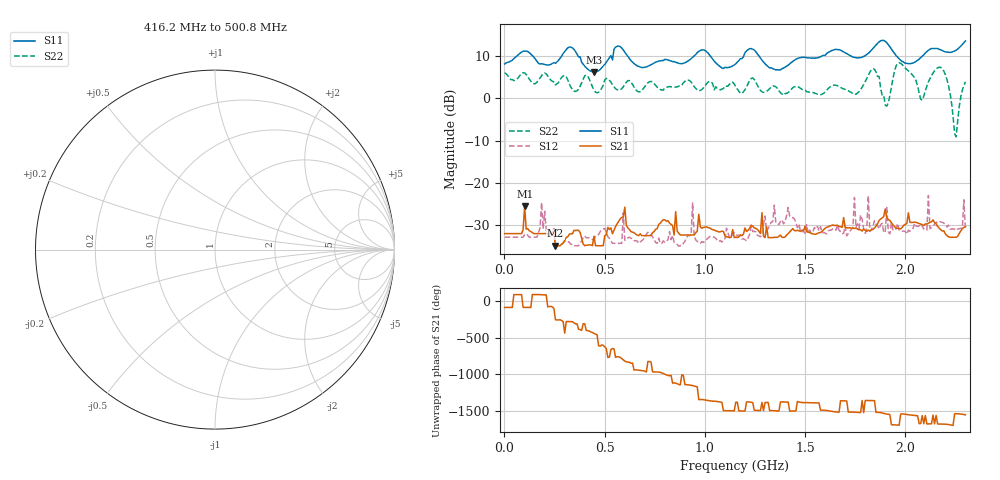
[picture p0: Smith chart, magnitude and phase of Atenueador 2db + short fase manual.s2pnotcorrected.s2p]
# Hz S DB R 50.000000
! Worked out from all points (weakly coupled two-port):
!   300 points, 1 MHz to 2.3 GHz, reference 50 ohm
!   highest |S21| = -25.50 dB at 101 MHz (marker M1); lowest = -34.9 dB at 254.7 MHz (marker M2)
!   lowest |S11| = 6.2 dB at 447 MHz (marker M3)
!   |S11| at or under -10 dB: nowhere
!   |S22| runs from -9.1 to 8.4 dB; largest |S21 - S12| = 0.093
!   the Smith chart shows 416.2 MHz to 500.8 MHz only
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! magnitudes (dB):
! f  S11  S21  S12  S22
! 1 MHz  8.1  -32.0  -32.8  6.0
! 101 MHz  11.2  -25.5  -32.2  6.0
! 185.5 MHz  8.2  -32.0  -24.7  5.4
! 254.7 MHz  8.3  -34.9  -34.9  3.1
! 385.4 MHz  8.5  -33.1  -33.7  3.7
! 447 MHz  6.2  -32.6  -33.3  2.0
! 769.9 MHz  8.8  -29.8  -33.0  2.3
! 885.2 MHz  8.2  -32.3  -34.9  3.1
! 939.1 MHz  9.7  -32.3  -24.7  3.4
! 969.8 MHz  11.1  -27.5  -34.2  1.8
! 1.154 GHz  8.1  -32.8  -32.0  2.8
! 1.539 GHz  9.5  -32.1  -31.7  1.4
! 1.708 GHz  10.6  -30.6  -32.5  1.9
! 1.746 GHz  9.7  -30.8  -23.5  0.9
! 1.8 GHz  10.1  -31.2  -31.9  4.0
! 1.816 GHz  10.6  -31.2  -23.0  5.4
! 1.823 GHz  11.0  -31.3  -31.4  6.1
! 1.923 GHz  12.2  -28.9  -32.1  0.6
! 2.115 GHz  11.4  -29.5  -23.0  3.9
! 2.177 GHz  11.4  -31.1  -29.2  7.3
! 2.254 GHz  11.4  -32.9  -31.2  -9.1
! 2.3 GHz  13.5  -30.3  -30.6  3.9
